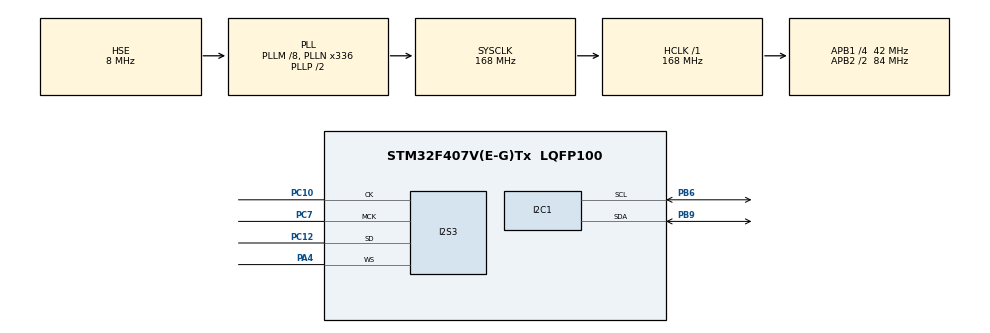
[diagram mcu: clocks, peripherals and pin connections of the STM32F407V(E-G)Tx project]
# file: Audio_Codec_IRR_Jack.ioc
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Dma.Request0=SPI3_TX
Dma.SPI3_TX.0.Direction=DMA_MEMORY_TO_PERIPH
Dma.SPI3_TX.0.FIFOMode=DMA_FIFOMODE_ENABLE
Dma.SPI3_TX.0.FIFOThreshold=DMA_FIFO_THRESHOLD_FULL
Dma.SPI3_TX.0.Instance=DMA1_Stream5
Dma.SPI3_TX.0.MemBurst=DMA_MBURST_SINGLE
Dma.SPI3_TX.0.MemDataAlignment=DMA_MDATAALIGN_HALFWORD
Dma.SPI3_TX.0.MemInc=DMA_MINC_ENABLE
Dma.SPI3_TX.0.Mode=DMA_CIRCULAR
Dma.SPI3_TX.0.PeriphBurst=DMA_PBURST_SINGLE
Dma.SPI3_TX.0.PeriphDataAlignment=DMA_PDATAALIGN_HALFWORD
Dma.SPI3_TX.0.PeriphInc=DMA_PINC_DISABLE
Dma.SPI3_TX.0.Priority=DMA_PRIORITY_LOW
I2S3.AudioFreq=I2S_AUDIOFREQ_48K
I2S3.ErrorAudioFreq=-2.34 %
I2S3.FullDuplexMode=I2S_FULLDUPLEXMODE_DISABLE
I2S3.Instance=SPI$Index
I2S3.RealAudioFreq=46.875 KHz
I2S3.VirtualMode=I2S_MODE_MASTER
Mcu.Family=STM32F4
Mcu.Name=STM32F407V(E-G)Tx
Mcu.Package=LQFP100
NVIC.DMA1_Stream5_IRQn=true\:0\:0\:false\:false\:true\:false\:true
NVIC.PriorityGroup=NVIC_PRIORITYGROUP_0
NVIC.TIM8_TRG_COM_TIM14_IRQn=true\:0\:0\:false\:false\:true\:false\:true
NVIC.TimeBase=TIM8_TRG_COM_TIM14_IRQn
NVIC.TimeBaseIP=TIM14
PA4.Mode=Half_Duplex_Master
PA4.Signal=I2S3_WS
PB6.Mode=I2C
PB6.Signal=I2C1_SCL
PB9.Mode=I2C
PB9.Signal=I2C1_SDA
PC10.Mode=Half_Duplex_Master
PC10.Signal=I2S3_CK
PC12.Mode=Half_Duplex_Master
PC12.Signal=I2S3_SD
PC14-OSC32_IN.Mode=LSE-External-Oscillator
PC14-OSC32_IN.Signal=RCC_OSC32_IN
PC15-OSC32_OUT.Mode=LSE-External-Oscillator
PC15-OSC32_OUT.Signal=RCC_OSC32_OUT
PC7.Mode=Master_Clock_Activated
PC7.Signal=I2S3_MCK
PH0-OSC_IN.Mode=HSE-External-Oscillator
PH0-OSC_IN.Signal=RCC_OSC_IN
PH1-OSC_OUT.Mode=HSE-External-Oscillator
PH1-OSC_OUT.Signal=RCC_OSC_OUT
ProjectManager.HeapSize=0x200
ProjectManager.StackSize=0x400
ProjectManager.TargetToolchain=STM32CubeIDE
RCC.48MHZClocksFreq_Value=48000000
RCC.AHBFreq_Value=168000000
RCC.APB1CLKDivider=RCC_HCLK_DIV4
RCC.APB1Freq_Value=42000000
RCC.APB1TimFreq_Value=84000000
RCC.APB2CLKDivider=RCC_HCLK_DIV2
RCC.APB2Freq_Value=84000000
RCC.APB2TimFreq_Value=168000000
RCC.CortexFreq_Value=168000000
RCC.HCLKFreq_Value=168000000
RCC.HSE_VALUE=8000000
RCC.HSI_VALUE=16000000
RCC.PLLM=8
RCC.PLLN=336
RCC.PLLQ=7
RCC.PLLSourceVirtual=RCC_PLLSOURCE_HSE
RCC.SYSCLKFreq_VALUE=168000000
RCC.SYSCLKSource=RCC_SYSCLKSOURCE_PLLCLK
RCC.VCOOutputFreq_Value=336000000
VP_SYS_VS_tim14.Mode=TIM14
board=STM32F407G-DISC1

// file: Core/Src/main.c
/* USER CODE BEGIN Header */
/**
  ******************************************************************************
  * @file           : main.c
  * @brief          : Main program body
  ******************************************************************************
  * @attention
  *
  * <h2><center>&copy; Copyright (c) 2023 STMicroelectronics.
  * All rights reserved.</center></h2>
  *
  * This software component is licensed by ST under BSD 3-Clause license,
  * the "License"; You may not use this file except in compliance with the
  * License. You may obtain a copy of the License at:
  *                        opensource.org/licenses/BSD-3-Clause
  *
  ******************************************************************************
  */
/* USER CODE END Header */
#include "main.h"

/* USER CODE BEGIN Includes */
#include "MY_CS43L22.h"
#include <math.h>
/* USER CODE END Includes */

I2C_HandleTypeDef hi2c1;

I2S_HandleTypeDef hi2s3;
DMA_HandleTypeDef hdma_spi3_tx;

/* USER CODE BEGIN PV */
#define PI 3.14159f

#define F_SAMPLE 50000.0f
#define F_OUT 	1500.0f

// Filter coefficients (placeholder values, replace with actual coefficients)
float l_a0, l_a1, l_a2, l_b1, l_b2, lin_z1, lin_z2, lout_z1, lout_z2;
float r_a0, r_a1, r_a2, r_b1, r_b2, rin_z1, rin_z2, rout_z1, rout_z2;

// Sine wave generation and I2S data buffer
float mySinVal;
float sample_dt;
uint16_t sample_n;
uint16_t i_t;
uint32_t myDacVal;
int16_t dataI2S[100];
/* USER CODE END PV */

void SystemClock_Config(void);
static void MX_GPIO_Init(void);
static void MX_DMA_Init(void);
static void MX_I2C1_Init(void);
static void MX_I2S3_Init(void);
/* USER CODE BEGIN PFP */
int Calc_IIR_Left(int inSample);
int Calc_IIR_Right(int inSample);
/* USER CODE END PFP */

int main(void)
{
  /* USER CODE BEGIN 1 */
    // Initialize filter coefficients (replace these with actual coefficients)
    l_a0 = 0.03657f;
    l_a1 = 0.07314f;
    l_a2 = 0.03657f;
    l_b1 = -1.39089f;
    l_b2 = 0.53719f;

    r_a0 = 0.03657f;
    r_a1 = 0.07314f;
    r_a2 = 0.03657f;
    r_b1 =- -1.39089f;
    r_b2 = 0.53719f;

    // Calculate sample settings
    sample_dt = F_OUT / F_SAMPLE;
    sample_n = F_SAMPLE / F_OUT;

    // Build Sine wave
    for (uint16_t i = 0; i < sample_n; i++)
    {
        mySinVal = sinf(i * 2 * PI * sample_dt);
        dataI2S[i * 2] = Calc_IIR_Left((mySinVal) * 8000);    // Right data (0 2 4 6 8 10 12)
        dataI2S[i * 2 + 1] = Calc_IIR_Right((mySinVal) * 8000); // Left data  (1 3 5 7 9 11 13)
    }
  /* USER CODE END 1 */

  /* MCU Configuration--------------------------------------------------------*/

  /* Reset of all peripherals, Initializes the Flash interface and the Systick. */
  HAL_Init();

  /* Configure the system clock */
  SystemClock_Config();

  /* Initialize all configured peripherals */
  MX_GPIO_Init();
  MX_DMA_Init();
  MX_I2C1_Init();
  MX_I2S3_Init();
  /* USER CODE BEGIN 2 */
  CS43_Init(hi2c1, MODE_I2S);
  CS43_SetVolume(50);
  CS43_Enable_RightLeft(CS43_RIGHT_LEFT);
  CS43_Start();

  HAL_I2S_Transmit_DMA(&hi2s3, (uint16_t *)dataI2S, sample_n * 2);
  /* USER CODE END 2 */

  /* Infinite loop */
  while (1)
  {

  }
}

void SystemClock_Config(void)
{
  RCC_OscInitTypeDef RCC_OscInitStruct = {0};
  RCC_ClkInitTypeDef RCC_ClkInitStruct = {0};

  /** Configure the main internal regulator output voltage
  */
  __HAL_RCC_PWR_CLK_ENABLE();
  __HAL_PWR_VOLTAGESCALING_CONFIG(PWR_REGULATOR_VOLTAGE_SCALE1);
  /** Initializes the RCC Oscillators according to the specified parameters
  * in the RCC_OscInitTypeDef structure.
  */
  RCC_OscInitStruct.OscillatorType = RCC_OSCILLATORTYPE_HSE;
  RCC_OscInitStruct.HSEState = RCC_HSE_ON;
  RCC_OscInitStruct.PLL.PLLState = RCC_PLL_ON;
  RCC_OscInitStruct.PLL.PLLSource = RCC_PLLSOURCE_HSE;
  RCC_OscInitStruct.PLL.PLLM = 8;
  RCC_OscInitStruct.PLL.PLLN = 336;
  RCC_OscInitStruct.PLL.PLLP = RCC_PLLP_DIV2;
  RCC_OscInitStruct.PLL.PLLQ = 7;
  if (HAL_RCC_OscConfig(&RCC_OscInitStruct) != HAL_OK)
  {
    Error_Handler();
  }
  /** Initializes the CPU, AHB and APB buses clocks
  */
  RCC_ClkInitStruct.ClockType = RCC_CLOCKTYPE_HCLK|RCC_CLOCKTYPE_SYSCLK
                              |RCC_CLOCKTYPE_PCLK1|RCC_CLOCKTYPE_PCLK2;
  RCC_ClkInitStruct.SYSCLKSource = RCC_SYSCLKSOURCE_PLLCLK;
  RCC_ClkInitStruct.AHBCLKDivider = RCC_SYSCLK_DIV1;
  RCC_ClkInitStruct.APB1CLKDivider = RCC_HCLK_DIV4;
  RCC_ClkInitStruct.APB2CLKDivider = RCC_HCLK_DIV2;

  if (HAL_RCC_ClockConfig(&RCC_ClkInitStruct, FLASH_LATENCY_5) != HAL_OK)
  {
    Error_Handler();
  }
}

static void MX_I2C1_Init(void)
{

  hi2c1.Instance = I2C1;
  hi2c1.Init.ClockSpeed = 100000;
  hi2c1.Init.DutyCycle = I2C_DUTYCYCLE_2;
  hi2c1.Init.OwnAddress1 = 0;
  hi2c1.Init.AddressingMode = I2C_ADDRESSINGMODE_7BIT;
  hi2c1.Init.DualAddressMode = I2C_DUALADDRESS_DISABLE;
  hi2c1.Init.OwnAddress2 = 0;
  hi2c1.Init.GeneralCallMode = I2C_GENERALCALL_DISABLE;
  hi2c1.Init.NoStretchMode = I2C_NOSTRETCH_DISABLE;
  if (HAL_I2C_Init(&hi2c1) != HAL_OK)
  {
    Error_Handler();
  }

}

static void MX_I2S3_Init(void)
{

  hi2s3.Instance = SPI3;
  hi2s3.Init.Mode = I2S_MODE_MASTER_TX;
  hi2s3.Init.Standard = I2S_STANDARD_PHILIPS;
  hi2s3.Init.DataFormat = I2S_DATAFORMAT_16B;
  hi2s3.Init.MCLKOutput = I2S_MCLKOUTPUT_ENABLE;
  hi2s3.Init.AudioFreq = I2S_AUDIOFREQ_48K;
  hi2s3.Init.CPOL = I2S_CPOL_LOW;
  hi2s3.Init.ClockSource = I2S_CLOCK_PLL;
  hi2s3.Init.FullDuplexMode = I2S_FULLDUPLEXMODE_DISABLE;
  if (HAL_I2S_Init(&hi2s3) != HAL_OK)
  {
    Error_Handler();
  }

}

static void MX_DMA_Init(void)
{

  /* DMA controller clock enable */
  __HAL_RCC_DMA1_CLK_ENABLE();

  /* DMA interrupt init */
  /* DMA1_Stream5_IRQn interrupt configuration */
  HAL_NVIC_SetPriority(DMA1_Stream5_IRQn, 0, 0);
  HAL_NVIC_EnableIRQ(DMA1_Stream5_IRQn);

}

static void MX_GPIO_Init(void)
{

  /* GPIO Ports Clock Enable */
  __HAL_RCC_GPIOC_CLK_ENABLE();
  __HAL_RCC_GPIOH_CLK_ENABLE();
  __HAL_RCC_GPIOA_CLK_ENABLE();
  __HAL_RCC_GPIOB_CLK_ENABLE();

}

/* USER CODE BEGIN 4 */
int Calc_IIR_Left(int inSample)
{
    float inSampleF = (float)inSample;
    float outSampleF =
        l_a0 * inSampleF +
        l_a1 * lin_z1 +
        l_a2 * lin_z2 -
        l_b1 * lout_z1 -
        l_b2 * lout_z2;
    lin_z2 = lin_z1;
    lin_z1 = inSampleF;
    lout_z2 = lout_z1;
    lout_z1 = outSampleF;

    return (int)outSampleF;
}

int Calc_IIR_Right(int inSample)
{
    float inSampleF = (float)inSample;
    float outSampleF =
        r_a0 * inSampleF +
        r_a1 * rin_z1 +
        r_a2 * rin_z2 -
        r_b1 * rout_z1 -
        r_b2 * rout_z2;
    rin_z2 = rin_z1;
    rin_z1 = inSampleF;
    rout_z2 = rout_z1;
    rout_z1 = outSampleF;

    return (int)outSampleF;
}
/* USER CODE END 4 */

void HAL_TIM_PeriodElapsedCallback(TIM_HandleTypeDef *htim)
{
  if (htim->Instance == TIM14) {
    HAL_IncTick();
  }
}

void Error_Handler(void)
{
  __disable_irq();
  while (1)
  {
  }
}

/************************ (C) COPYRIGHT STMicroelectronics *****END OF FILE****/
